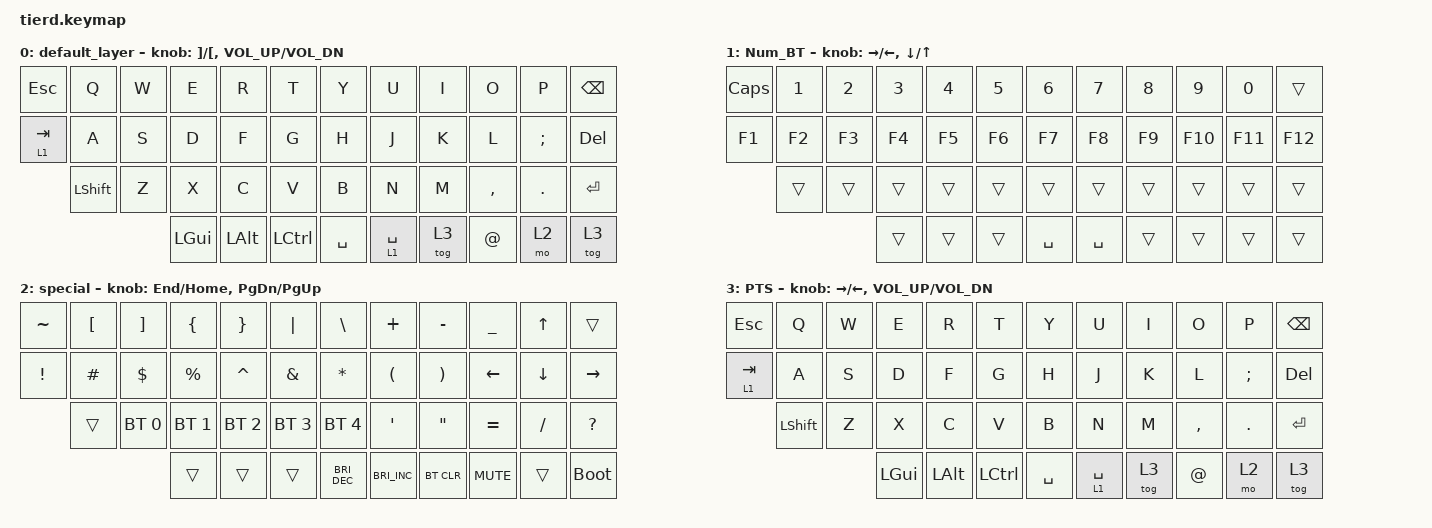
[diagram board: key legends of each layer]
#include <behaviors.dtsi>
#include <dt-bindings/zmk/bt.h>
#include <dt-bindings/zmk/keys.h>
#include <dt-bindings/zmk/rgb.h>
#include <dt-bindings/zmk/ext_power.h>

&led_strip {
    chain-length = <5>;
};

/ {
    keymap {
        compatible = "zmk,keymap";
		
		default_layer {

            bindings = <
&kp ESC    &kp Q      &kp W  &kp E     &kp R     &kp T      &kp Y      &kp U        &kp I   &kp O      &kp P          &kp BSPC
&lt 1 TAB  &kp A      &kp S  &kp D     &kp F     &kp G      &kp H      &kp J        &kp K   &kp L      &kp SEMICOLON  &kp DEL
           &kp LSHFT  &kp Z  &kp X     &kp C     &kp V      &kp B      &kp N        &kp M   &kp COMMA  &kp DOT        &kp RET
                             &kp LGUI  &kp LALT  &kp LCTRL  &kp SPACE  &lt 1 SPACE  &tog 3  &kp AT     &mo 2          &tog 3
            >;

            sensor-bindings =
                <&inc_dec_kp RIGHT_BRACKET LEFT_BRACKET &inc_dec_kp C_VOL_UP C_VOL_DN>;
        };

        Num_BT {
            bindings = <
&kp CLCK  &kp N1  &kp NUMBER_2  &kp NUMBER_3  &kp NUMBER_4  &kp N5       &kp NUMBER_6  &kp N7        &kp N8        &kp N9        &kp N0        &trans
&kp F1    &kp F2  &kp F3        &kp F4        &kp F5        &kp F6       &kp F7        &kp F8        &kp F9        &kp F10       &kp F11       &kp F12
          &trans  &trans        &trans        &trans        &trans       &trans        &trans        &trans        &trans        &trans        &trans
                                &trans        &trans        &trans       &kp SPACE     &kp SPACE     &trans        &trans       &trans       &trans
            >;

            sensor-bindings =
                <&inc_dec_kp RIGHT LEFT_ARROW &inc_dec_kp DOWN UP_ARROW>;
        };

        special {
            bindings = <
&kp TILDE        &kp LEFT_BRACKET  &kp RIGHT_BRACKET  &kp LEFT_BRACE  &kp RIGHT_BRACE  &kp PIPE       &kp BSLH      &kp PLUS              &kp MINUS              &kp UNDERSCORE  &kp UP_ARROW    &trans
&kp EXCLAMATION  &kp HASH          &kp DOLLAR         &kp PERCENT     &kp CARET        &kp AMPERSAND  &kp ASTERISK  &kp LEFT_PARENTHESIS  &kp RIGHT_PARENTHESIS  &kp LEFT        &kp DOWN_ARROW  &kp RIGHT
                 &trans            &bt BT_SEL 0       &bt BT_SEL 1    &bt BT_SEL 2     &bt BT_SEL 3   &bt BT_SEL 4  &kp SQT               &kp DOUBLE_QUOTES      &kp EQUAL       &kp SLASH       &kp QUESTION
                                                      &trans          &trans           &trans         &kp C_BRI_DEC &kp C_BRI_INC         &bt BT_CLR             &kp K_MUTE      &trans          &bootloader
            >;

            sensor-bindings =
                <&inc_dec_kp END HOME &inc_dec_kp PAGE_DOWN PAGE_UP>;
        };

        PTS {
            bindings = <
&kp ESC    &kp Q      &kp W  &kp E     &kp R     &kp T      &kp Y      &kp U        &kp I   &kp O        &kp P     &kp BSPC
&lt 1 TAB  &kp A      &kp S  &kp D     &kp F     &kp G      &kp H      &kp J        &kp K   &kp L        &kp SEMI  &kp DEL
           &kp LSHFT  &kp Z  &kp X     &kp C     &kp V      &kp B      &kp N        &kp M   &kp COMMA    &kp DOT   &kp ENTER
                             &kp LGUI  &kp LALT  &kp LCTRL  &kp SPACE  &lt 1 SPACE  &tog 3  &kp AT_SIGN  &mo 2     &tog 3
            >;

            sensor-bindings =
                <&inc_dec_kp RIGHT LEFT &inc_dec_kp C_VOL_UP C_VOL_DN>;
        };
	};
};
